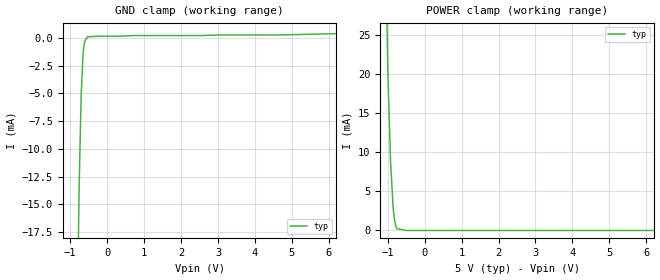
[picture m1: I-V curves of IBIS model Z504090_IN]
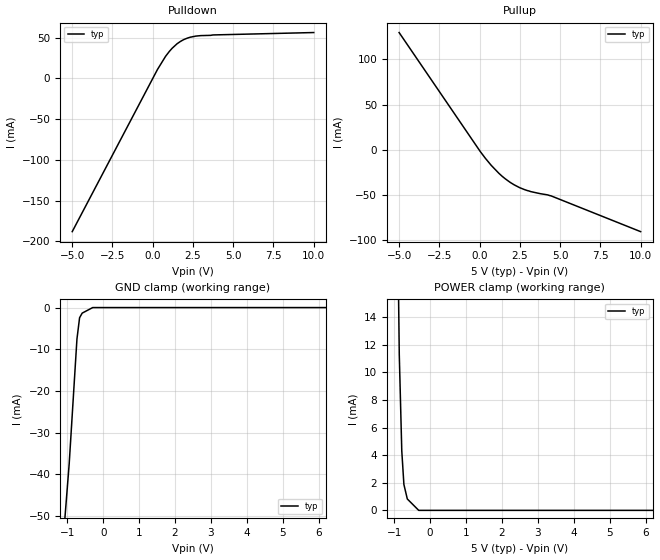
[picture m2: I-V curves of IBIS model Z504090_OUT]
| YOU ARE ONLY AUTHORIZED TO USE THIS SOFTWARE
| ACCORDING TO LICENSOR'S LICENSE RESTRICTIONS.
[IBIS Ver] 3.1
[File Name] mc54hc32aj.ibs
[File Rev] 2.0
[Source] Measured and created by ICX Technology
[Date] Friday 7/14/00 9:08:06 AM
[Copyright]
| (C) COPYRIGHT 1993-2000
| MENTOR GRAPHICS CORPORATION
| ICX STANDARD LIBRARY, ICX PROJECT MODELING,
| ICX CUSTOM MODELING, ICX VENDOR MODEL
| ALL RIGHTS RESERVED.
| THE FOLLOWING ARE TRADEMARKS OR SERVICE MARKS OF
| MENTOR GRAPHICS CORPORATION:ICX (R), ICX STANDARD
| LIBRARY(R), ICX PROJECT MODELING(R), ICX CUSTOM
| MODELING(R), qualityIBIS(TM), MODELVIEWER(TM),
| AND MODELEDITOR(TM)
| ALL COPIES OF SOFTWARE, INCLUDING BUT NOT LIMITED TO
| ANY MODIFICATIONS, ENHANCEMENTS OR DERIVATIVE WORKS,
| MUST CONTAIN ALL MENTOR GRAPHICS CORPORATION'S
| NOTICES AND LEGENDS, INCLUDING THOSE EMBEDDED IN
| SOFTWARE AND THOSE AFFIXED TO SOFTWARE MEDIUM
| AND CONTAINER, AS RECEIVED FROM MENTOR GRAPHICS
| CORPORATION.
|  ZAP Model Builder 2.7
[Component] MC54HC32AJ
[Manufacturer] OnSemiconductor
[Package]
| variable   typ   min   max
R_pkg  .21ohms NA NA
L_pkg  4.543nH NA NA
C_pkg  1.8pF NA NA
[Pin] signal_name  model_name  R_pin  L_pin C_pin
1 A Z504090_IN .22 6.757n 2.434p
2 B Z504090_IN .212 4.757n 1.941p
3 Y Z504090_OUT .204 3.257n 1.448p
4 A Z504090_IN .196 2.257n .955p
5 B Z504090_IN .204 3.257n 1.448p
6 Y Z504090_OUT .212 4.757n 1.941p
7 GROUND GND .22 6.757n 2.434p
8 Y Z504090_OUT .22 6.757n 2.434p
9 A Z504090_IN .212 4.757n 1.941p
10 B Z504090_IN .204 3.257n 1.448p
11 Y Z504090_OUT .196 2.257n .955p
12 A Z504090_IN .204 3.257n 1.448p
13 B Z504090_IN .212 4.757n 1.941p
14 VCC POWER .22 6.757n 2.434p
| Models and submodels in the file (2): Z504090_IN (Input), Z504090_OUT (Output)
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| (C) COPYRIGHT 1993-2000
| MENTOR GRAPHICS CORPORATION
| ICX STANDARD LIBRARY, ICX PROJECT MODELING,
| ICX CUSTOM MODELING, ICX VENDOR MODEL
| ALL RIGHTS RESERVED.
| THE FOLLOWING ARE TRADEMARKS OR SERVICE MARKS OF
| MENTOR GRAPHICS CORPORATION:ICX (R), ICX STANDARD
| LIBRARY(R), ICX PROJECT MODELING(R), ICX CUSTOM
| MODELING(R), qualityIBIS(TM), MODELVIEWER(TM),
| AND MODELEDITOR(TM)
| ALL COPIES OF SOFTWARE, INCLUDING BUT NOT LIMITED TO
| ANY MODIFICATIONS, ENHANCEMENTS OR DERIVATIVE WORKS,
| MUST CONTAIN ALL MENTOR GRAPHICS CORPORATION'S
| NOTICES AND LEGENDS, INCLUDING THOSE EMBEDDED IN
| SOFTWARE AND THOSE AFFIXED TO SOFTWARE MEDIUM
| AND CONTAINER, AS RECEIVED FROM MENTOR GRAPHICS
| CORPORATION.
| Model Application Version 1.89 2/18/99.
[Model] Z504090_IN
Model_type Input
Vinl = 1.000V
Vinh = 3.500V
C_comp 4.000pF NA NA
| variable typ   min   max
[Voltage Range] 5.000V NA NA
[GND Clamp Reference] 0.000V NA NA
[POWER Clamp Reference] 5.000V NA NA
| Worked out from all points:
|   GND clamp passes 1 mA (typ) near -0.64 V on its own axis
|   POWER clamp passes 1 mA (typ) near -0.80 V on its own axis
[GND Clamp]
-5V       -1.391A    NA         NA
-1.059V   -83.87mA   NA         NA
-756.7mV  -13.37mA   NA         NA
-702.5mV  -5.136mA   NA         NA
-645.7mV  -1.179mA   NA         NA
-610.4mV  -384.3uA   NA         NA
-571.3mV  -85.04uA   NA         NA
-532.2mV  100uA      NA         NA
723mV     215.6uA    NA         NA
4.729V    271uA      NA         NA
10V       688.8uA    NA         NA
[POWER Clamp]
-5V       1.626A     NA         NA
-1.367V   134.3mA    NA         NA
-1.15V    59.19mA    NA         NA
-992mV    19.71mA    NA         NA
-921mV    8.789mA    NA         NA
-850mV    2.731mA    NA         NA
-811mV    1.234mA    NA         NA
-771mV    433.1uA    NA         NA
-752mV    243uA      NA         NA
-501.3mV  0A         NA         NA
10V       0A         NA         NA
| (C) COPYRIGHT 1993-2000
| MENTOR GRAPHICS CORPORATION
| ICX STANDARD LIBRARY, ICX PROJECT MODELING,
| ICX CUSTOM MODELING, ICX VENDOR MODEL
| ALL RIGHTS RESERVED.
| THE FOLLOWING ARE TRADEMARKS OR SERVICE MARKS OF
| MENTOR GRAPHICS CORPORATION:ICX (R), ICX STANDARD
| LIBRARY(R), ICX PROJECT MODELING(R), ICX CUSTOM
| MODELING(R), qualityIBIS(TM), MODELVIEWER(TM),
| AND MODELEDITOR(TM)
| ALL COPIES OF SOFTWARE, INCLUDING BUT NOT LIMITED TO
| ANY MODIFICATIONS, ENHANCEMENTS OR DERIVATIVE WORKS,
| MUST CONTAIN ALL MENTOR GRAPHICS CORPORATION'S
| NOTICES AND LEGENDS, INCLUDING THOSE EMBEDDED IN
| SOFTWARE AND THOSE AFFIXED TO SOFTWARE MEDIUM
| AND CONTAINER, AS RECEIVED FROM MENTOR GRAPHICS
| CORPORATION.
| Model Application Version 1.89 2/18/99.
[Model] Z504090_OUT
Model_type Output
Vref=0.000V
Rref=500.0Mohms
Cref=50.00pF
Vmeas=2.500V
C_comp 8.000pF NA NA
| variable typ   min   max
[Voltage Range] 5.000V NA NA
[POWER Clamp Reference] 5.000V NA NA
[Pullup Reference] 5.000V NA NA
[Pulldown Reference] 0.000V NA NA
[GND Clamp Reference] 0.000V NA NA
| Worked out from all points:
|   slope of the pulldown table from 0 to 0.75 V, typ, clamps not added: 29.2 ohm
|   slope of the pullup table from 0 to 0.75 V, typ, clamps not added: 44.5 ohm
|   POWER clamp passes 1 mA (typ) near -0.65 V on its own axis
[GND Clamp]
-5V       -353.3mA   NA         NA
-1.104V   -54.53mA   NA         NA
-947.8mV  -37.45mA   NA         NA
-732.4mV  -7.579mA   NA         NA
-658.6mV  -2.433mA   NA         NA
-585.8mV  -1.329mA   NA         NA
-292.9mV  0A         NA         NA
10V       0A         NA         NA
[Pulldown]
-5V       -188mA     NA         NA
293.5mV   10.93mA    NA         NA
796.9mV   27.09mA    NA         NA
1.206V    37mA       NA         NA
1.516V    42.61mA    NA         NA
2.148V    49.44mA    NA         NA
2.983V    52.53mA    NA         NA
10V       56.3mA     NA         NA
[Pullup]
-5V       129.7mA    NA         NA
39mV      -1.753mA   NA         NA
725mV     -17.12mA   NA         NA
1.407V    -29.23mA   NA         NA
2.158V    -38.69mA   NA         NA
2.792V    -43.88mA   NA         NA
4.419V    -50.65mA   NA         NA
10V       -90.31mA   NA         NA
[POWER Clamp]
-5V       1.237A     NA         NA
-1.274V   114.9mA    NA         NA
-1.031V   48.08mA    NA         NA
-859mV    11.31mA    NA         NA
-789mV    4.307mA    NA         NA
-730mV    1.876mA    NA         NA
-635mV    825.3uA    NA         NA
-317.5mV  0A         NA         NA
10V       0A         NA         NA
[Ramp]
| variable typ min max
dV/dt_r 2.783/1.834n NA NA
dV/dt_f 2.783/1.889n NA NA
R_load = 500.0Ohms
